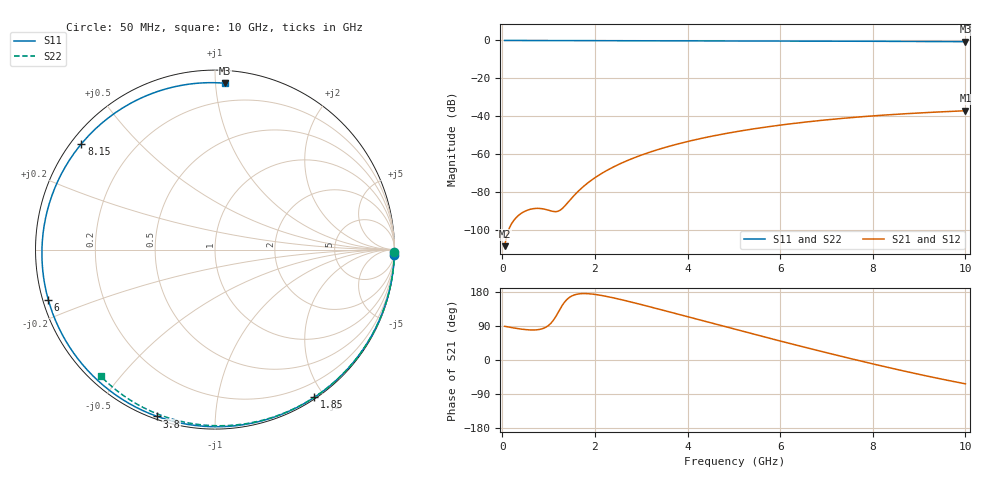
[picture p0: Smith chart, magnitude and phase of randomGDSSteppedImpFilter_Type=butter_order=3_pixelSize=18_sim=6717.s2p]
! freq	dB(S11)	phase(S11)	dB(S12)	phase(S12)
!  dB(S21)	phase(S21)	dB(S22)	phase(S22)
!S-par simulation data
#  GHz  S  DB  R 50
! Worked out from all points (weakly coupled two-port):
!   200 points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, 50 MHz to 10 GHz, reference 50 ohm
!   highest |S21| = -37.03 dB at 10 GHz (marker M1); lowest = -108.4 dB at 50 MHz (marker M2)
!   lowest |S11| = -0.6 dB at 10 GHz (marker M3), VSWR 27.00, Z = 3.94 + j53 ohm
!   |S11| at or under -10 dB: nowhere
!   |S22| runs from -0.4 to 0.0 dB; largest |S21 - S12| = 0
!   S11 on the Smith chart (normalised r, x): 50 MHz: 0, -73; 1.85 GHz: 0.02, -1.88; 3.8 GHz: 0.01, -0.71; 6 GHz: 0.02, -0.15; 8.15 GHz: 0.03, +0.35; 10 GHz: 0.08, +1.06
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0.05  -0.00 -1.6  -108.40 89.0  -108.40 89.0  -0.00 -0.8
0.4  -0.02 -12.4  -91.25 81.7  -91.25 81.7  -0.01 -6.1
0.8  -0.03 -24.7  -88.51 80.6  -88.51 80.6  -0.02 -12.1
1.6  -0.06 -48.8  -80.44 173.2  -80.44 173.2  -0.03 -24.1
1.75  -0.07 -53.2  -77.01 175.3  -77.01 175.3  -0.03 -26.3
1.85  -0.07 -56.1  -75.01 175.0  -75.01 175.0  -0.04 -27.8
2.15  -0.08 -64.7  -70.01 170.2  -70.01 170.2  -0.04 -32.2
2.5  -0.09 -74.5  -65.48 161.2  -65.48 161.2  -0.05 -37.3
2.9  -0.11 -85.5  -61.34 149.4  -61.34 149.4  -0.06 -43.1
3.4  -0.13 -98.7  -57.21 133.6  -57.21 133.6  -0.07 -50.1
3.8  -0.14 -109.1  -54.48 120.7  -54.48 120.7  -0.08 -55.7
4.4  -0.17 -124.2  -51.08 101.2  -51.08 101.2  -0.09 -63.9
5.05  -0.20 -140.2  -48.08 80.2  -48.08 80.2  -0.11 -72.6
6  -0.26 -163.3  -44.62 50.1  -44.62 50.1  -0.15 -84.8
6.7  -0.32 179.5  -42.60 28.4  -42.60 28.4  -0.18 -93.5
7.45  -0.38 160.4  -40.83 5.8  -40.83 5.8  -0.22 -102.6
8.15  -0.45 141.6  -39.49 -14.5  -39.49 -14.5  -0.27 -110.9
8.35  -0.47 136.1  -39.16 -20.2  -39.16 -20.2  -0.29 -113.2
8.8  -0.52 123.2  -38.48 -32.5  -38.48 -32.5  -0.33 -118.4
9.25  -0.56 109.9  -37.89 -44.4  -37.89 -44.4  -0.37 -123.6
9.65  -0.61 97.5  -37.42 -54.5  -37.42 -54.5  -0.41 -128.1
10  -0.64 86.4  -37.03 -62.9  -37.03 -62.9  -0.45 -132.1
